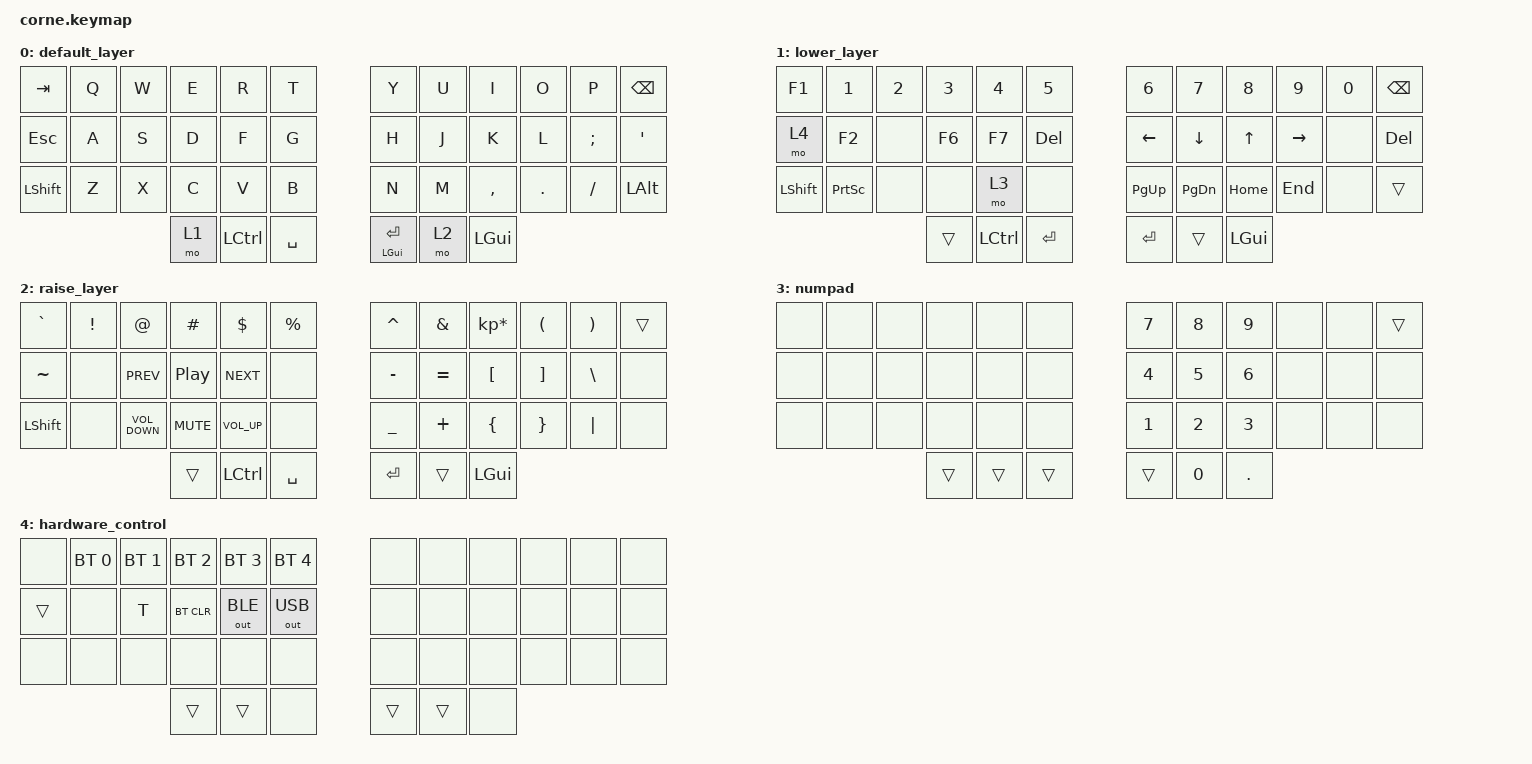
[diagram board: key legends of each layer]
/*
 * Copyright (c) 2020 The ZMK Contributors
 *
 * SPDX-License-Identifier: MIT
 */

#include <behaviors.dtsi>
#include <dt-bindings/zmk/bt.h>
#include <dt-bindings/zmk/keys.h>
#include <dt-bindings/zmk/outputs.h>

/ {
    combos {
        compatible = "zmk,combos";
    };

    behaviors {
        hm: homerow_mod {
            compatible = "zmk,behavior-hold-tap";
            label = "homerow_mod";
            bindings = <&kp>, <&kp>;
            #binding-cells = <2>;
            tapping-term-ms = <350>;
            flavor = "balanced";
        };
    };

    keymap {
        compatible = "zmk,keymap";

        default_layer {
            // -----------------------------------------------------------------------------------------
            // |  TAB |  Q  |  W  |  E  |  R   |  T  |   |  Y  |  U  |  I  |  O  |  P  | BKSP |
            // |  ESC |  A  |  S  |  D  |  F   |  G  |   |  H  |  J  |  K  |  L  |  ;  |  '   |
            // | SHFT |  Z  |  X  |  C  |  V   |  B  |   |  N  |  M  |  ,  |  .  |  /  | ALT  |
            //                    | CTRL | LWR | SPC |   | ENT | RSE | GUI |

            bindings = <
  &kp TAB  &kp Q  &kp W      &kp E  &kp R      &kp T                       &kp Y  &kp U         &kp I    &kp O          &kp P      &kp BSPC
  &kp ESC  &kp A  &kp S      &kp D  &kp F      &kp G                       &kp H  &kp J         &kp K    &kp L  &kp SEMICOLON       &kp SQT
&kp LSHFT  &kp Z  &kp X      &kp C  &kp V      &kp B                       &kp N  &kp M     &kp COMMA  &kp DOT       &kp FSLH  &kp LEFT_ALT
                         &mo 1  &kp LCTRL  &kp SPACE           &hm LEFT_GUI ENTER  &mo 2  &kp LEFT_GUI
            >;
        };

        lower_layer {
            // -----------------------------------------------------------------------------------------
            // |  F1  |    1  |  2  |  3   |  4  |  5  |   |  6   |   7  |   8  |  9  |  0  | BKSP |
            // | HW   |   F2  |     |  F6  |  F7 | DEL |   | LEFT | DOWN |  UP  | RGT |     |  DEL |
            // | SHFT | PRTSC |     |      | NUM |     |   | PGUP | PGDW | HOME | END |     |      |
            //                      | CTRL |     | ENT |   |  ENT |      | GUI  |

            bindings = <
        &kp F1           &kp N1  &kp N2     &kp N3  &kp N4      &kp N5         &kp N6         &kp N7        &kp N8     &kp N9  &kp N0    &kp BSPC
         &mo 4           &kp F2   &none     &kp F6  &kp F7  &kp DELETE       &kp LEFT       &kp DOWN        &kp UP  &kp RIGHT   &none  &kp DELETE
&kp LEFT_SHIFT  &kp PRINTSCREEN   &none      &none   &mo 3       &none    &kp PAGE_UP  &kp PAGE_DOWN      &kp HOME    &kp END   &none      &trans
                                         &trans   &kp LCTRL  &kp ENTER        &kp RET         &trans  &kp LEFT_GUI
            >;
        };

        raise_layer {
            // -----------------------------------------------------------------------------------------
            // |   `  |  !  |  @  |  #  |  $  |  %  |   |  ^  |  &  |  *  |  (  |  )  | BKSP |
            // |   ~  |     |     |     |     |     |   |  -  |  =  |  [  |  ]  |  \  |  `   |
            // | SHFT |     |     |     |     |     |   |  _  |  +  |  {  |  }  | "|" |  ~   |
            //                    | GUI |     | SPC |   | ENT |     | ALT |

            bindings = <
&kp GRAVE  &kp EXCL             &kp AT          &kp HASH         &kp DLLR  &kp PRCNT    &kp CARET   &kp AMPS  &kp KP_MULTIPLY  &kp LPAR  &kp RPAR  &trans
&kp TILDE     &none         &kp C_PREV  &kp C_PLAY_PAUSE       &kp C_NEXT      &none    &kp MINUS  &kp EQUAL         &kp LBKT  &kp RBKT  &kp BSLH   &none
&kp LSHFT     &none  &kp C_VOLUME_DOWN        &kp C_MUTE  &kp C_VOLUME_UP      &none    &kp UNDER   &kp PLUS         &kp LBRC  &kp RBRC  &kp PIPE   &none
                                               &trans  &kp LCTRL    &kp SPACE      &kp RET     &trans     &kp LEFT_GUI
            >;
        };

        numpad {
            bindings = <
&none  &none  &none   &none   &none   &none    &kp NUMBER_7  &kp NUMBER_8  &kp NUMBER_9  &none  &none  &trans
&none  &none  &none   &none   &none   &none    &kp NUMBER_4  &kp NUMBER_5  &kp NUMBER_6  &none  &none   &none
&none  &none  &none   &none   &none   &none    &kp NUMBER_1  &kp NUMBER_2  &kp NUMBER_3  &none  &none   &none
                     &trans  &trans  &trans          &trans  &kp NUMBER_0       &kp DOT
            >;
        };

        hardware_control {
            bindings = <
 &none  &bt BT_SEL 0  &bt BT_SEL 1  &bt BT_SEL 2  &bt BT_SEL 3  &bt BT_SEL 4     &none   &none  &none  &none  &none  &none
&trans         &none         &kp T    &bt BT_CLR  &out OUT_BLE  &out OUT_USB     &none   &none  &none  &none  &none  &none
 &none         &none         &none         &none         &none         &none     &none   &none  &none  &none  &none  &none
                                          &trans        &trans         &none    &trans  &trans  &none
            >;
        };
    };
};
